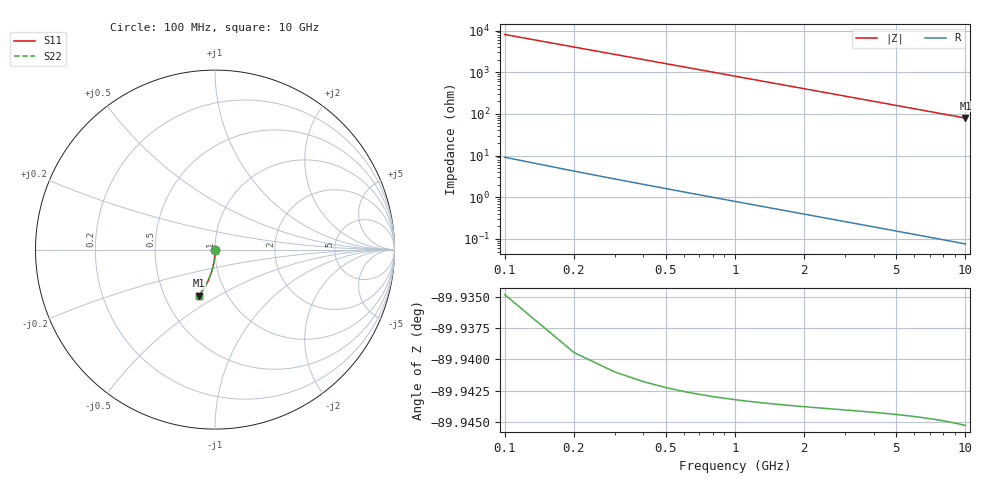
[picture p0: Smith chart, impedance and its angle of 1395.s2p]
# Hz S RI R 50.00
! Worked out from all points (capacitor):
!   100 points, 100 MHz to 10 GHz, reference 50 ohm
!   read as one part in shunt: C = 198 fF near 100 MHz
!   lowest |Z| = 79.5 ohm at 10 GHz (marker M1)
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1e8  6.81e-05 -0.00281  0.9999 -0.00342  0.9999 -0.00342  6.81e-05 -0.00281
2e8  3.69e-05 -0.00561  0.9999 -0.00684  0.9999 -0.00684  3.69e-05 -0.00561
3e8  -1.37e-05 -0.00842  0.9998 -0.0103  0.9998 -0.0103  -1.37e-05 -0.00842
4e8  -8.36e-05 -0.0112  0.9997 -0.0137  0.9997 -0.0137  -8.36e-05 -0.0112
5e8  -0.000173 -0.014  0.9997 -0.0171  0.9997 -0.0171  -0.000173 -0.014
6e8  -0.000281 -0.0168  0.9995 -0.0205  0.9995 -0.0205  -0.000281 -0.0168
7e8  -0.000409 -0.0196  0.9994 -0.0239  0.9994 -0.0239  -0.000409 -0.0196
8e8  -0.000555 -0.0224  0.9993 -0.0274  0.9993 -0.0274  -0.000555 -0.0224
9e8  -0.000721 -0.0252  0.9991 -0.0308  0.9991 -0.0308  -0.000721 -0.0252
1.1e9  -0.00111 -0.0308  0.9987 -0.0376  0.9987 -0.0376  -0.00111 -0.0308
1.4e9  -0.00184 -0.0392  0.998 -0.0478  0.998 -0.0478  -0.00184 -0.0392
1.8e9  -0.00308 -0.0504  0.9967 -0.0615  0.9967 -0.0615  -0.00308 -0.0504
2.1e9  -0.00421 -0.0588  0.9955 -0.0717  0.9955 -0.0717  -0.00421 -0.0588
2.5e9  -0.00599 -0.0699  0.9937 -0.0853  0.9937 -0.0853  -0.00599 -0.0699
2.9e9  -0.00807 -0.0809  0.9916 -0.0988  0.9916 -0.0988  -0.00807 -0.0809
3.4e9  -0.0111 -0.0947  0.9885 -0.1156  0.9885 -0.1156  -0.0111 -0.0947
4.2e9  -0.0169 -0.1164  0.9826 -0.1423  0.9826 -0.1423  -0.0169 -0.1164
5.1e9  -0.0248 -0.1403  0.9745 -0.1719  0.9745 -0.1719  -0.0248 -0.1403
5.9e9  -0.033 -0.1611  0.9661 -0.1976  0.9661 -0.1976  -0.033 -0.1611
6.7e9  -0.0423 -0.1812  0.9566 -0.2229  0.9566 -0.2229  -0.0423 -0.1812
8.4e9  -0.0654 -0.2219  0.933 -0.2743  0.933 -0.2743  -0.0654 -0.2219
1e10  -0.0907 -0.2569  0.9071 -0.3196  0.9071 -0.3196  -0.0907 -0.2569
